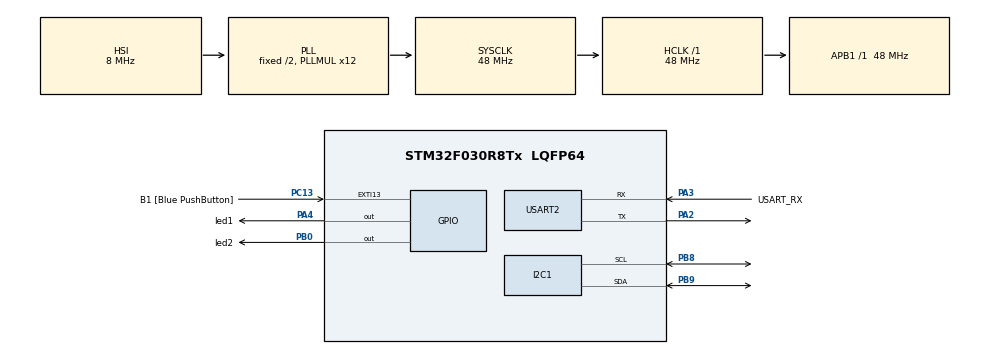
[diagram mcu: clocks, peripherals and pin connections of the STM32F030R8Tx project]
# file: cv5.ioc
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Dma.Request0=USART2_RX
Dma.USART2_RX.0.Direction=DMA_PERIPH_TO_MEMORY
Dma.USART2_RX.0.Instance=DMA1_Channel5
Dma.USART2_RX.0.MemDataAlignment=DMA_MDATAALIGN_BYTE
Dma.USART2_RX.0.MemInc=DMA_MINC_ENABLE
Dma.USART2_RX.0.Mode=DMA_CIRCULAR
Dma.USART2_RX.0.PeriphDataAlignment=DMA_PDATAALIGN_BYTE
Dma.USART2_RX.0.PeriphInc=DMA_PINC_DISABLE
Dma.USART2_RX.0.Priority=DMA_PRIORITY_LOW
Mcu.Family=STM32F0
Mcu.Name=STM32F030R8Tx
Mcu.Package=LQFP64
NVIC.DMA1_Channel4_5_IRQn=true\:0\:0\:false\:false\:true\:false\:true\:true
PA13.GPIO_Label=TMS
PA13.Mode=Serial_Wire
PA13.Signal=SYS_SWDIO
PA14.GPIO_Label=TCK
PA14.Mode=Serial_Wire
PA14.Signal=SYS_SWCLK
PA2.Mode=Asynchronous
PA2.Signal=USART2_TX
PA3.GPIO_Label=USART_RX
PA3.GPIO_Mode=GPIO_MODE_AF_PP
PA3.GPIO_PuPd=GPIO_NOPULL
PA3.GPIO_Speed=GPIO_SPEED_FREQ_LOW
PA3.Mode=Asynchronous
PA3.Signal=USART2_RX
PA4.GPIO_Label=led1
PA4.Signal=GPIO_Output
PB0.GPIO_Label=led2
PB0.Signal=GPIO_Output
PB8.Mode=I2C
PB8.Signal=I2C1_SCL
PB9.Mode=I2C
PB9.Signal=I2C1_SDA
PC13.GPIO_Label=B1 [Blue PushButton]
PC13.GPIO_ModeDefaultEXTI=GPIO_MODE_IT_FALLING
PC13.Signal=GPXTI13
PC14-OSC32_IN.Mode=LSE-External-Oscillator
PC14-OSC32_IN.Signal=RCC_OSC32_IN
PC15-OSC32_OUT.Mode=LSE-External-Oscillator
PC15-OSC32_OUT.Signal=RCC_OSC32_OUT
PF0-OSC_IN.Mode=HSE-External-Clock-Source
PF0-OSC_IN.Signal=RCC_OSC_IN
PF1-OSC_OUT.Signal=RCC_OSC_OUT
ProjectManager.HeapSize=0x200
ProjectManager.StackSize=0x400
ProjectManager.TargetToolchain=STM32CubeIDE
RCC.AHBFreq_Value=48000000
RCC.APB1Freq_Value=48000000
RCC.APB1TimFreq_Value=48000000
RCC.HCLKFreq_Value=48000000
RCC.PLLMUL=RCC_PLL_MUL12
RCC.SYSCLKFreq_VALUE=48000000
RCC.SYSCLKSource=RCC_SYSCLKSOURCE_PLLCLK
USART2.VirtualMode-Asynchronous=VM_ASYNC
board=NUCLEO-F030R8

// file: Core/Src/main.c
/* USER CODE BEGIN Header */
/**
  ******************************************************************************
  * @file           : main.c
  * @brief          : Main program body
  ******************************************************************************
  * @attention
  *
  * Copyright (c) 2023 STMicroelectronics.
  * All rights reserved.
  *
  * This software is licensed under terms that can be found in the LICENSE file
  * in the root directory of this software component.
  * If no LICENSE file comes with this software, it is provided AS-IS.
  *
  ******************************************************************************
  */
/* USER CODE END Header */
#include "main.h"

/* USER CODE BEGIN Includes */
#include <stdio.h>
#include <string.h>
#include <stdlib.h>

/* USER CODE END Includes */

/* USER CODE BEGIN PD */
#define RX_BUFFER_LEN 64
#define CMD_BUFFER_LEN 256
#define EEPROM_ADDR 0xA0
static uint8_t uart_rx_buf[RX_BUFFER_LEN];
static volatile uint16_t uart_rx_read_ptr = 0;
#define uart_rx_write_ptr (RX_BUFFER_LEN - hdma_usart2_rx.Instance->CNDTR)

/* USER CODE END PD */

I2C_HandleTypeDef hi2c1;

UART_HandleTypeDef huart2;
DMA_HandleTypeDef hdma_usart2_rx;

void SystemClock_Config(void);
static void MX_GPIO_Init(void);
static void MX_DMA_Init(void);
static void MX_USART2_UART_Init(void);
static void MX_I2C1_Init(void);

/* USER CODE BEGIN 0 */
static void uart_process_command(char *cmd)
{
	//printf("prijato: '%s'\n", cmd);
	char *token;
	uint16_t addr;
	uint8_t value;
	token = strtok(cmd, " ");
	//HELLO
	if (strcasecmp(token, "HELLO") == 0) {
		printf("Komunikace OK\n");
	}
	//led1
	else if (strcasecmp(token, "LED1") == 0) {
		token = strtok(NULL, " ");

		if (strcasecmp(token, "ON") == 0) {
			HAL_GPIO_WritePin(led1_GPIO_Port, led1_Pin, GPIO_PIN_SET);
			printf("ledka svititi\n");
		}
		else if (strcasecmp(token, "OFF") == 0) {
			HAL_GPIO_WritePin(led1_GPIO_Port, led1_Pin, GPIO_PIN_RESET);
			printf("ledka nesvititi\n");
		}
	}
	//led2
	else if (strcasecmp(token, "LED2") == 0) {
		token = strtok(NULL, " ");
		if (strcasecmp(token, "ON") == 0) {
			HAL_GPIO_WritePin(led2_GPIO_Port, led2_Pin, GPIO_PIN_SET);
			printf("ledka svititi\n");
		}
		else if ((strcasecmp(token, "OFF") == 0)){
			HAL_GPIO_WritePin(led2_GPIO_Port, led2_Pin, GPIO_PIN_RESET);
			printf("ledka nesvititi\n");
		}
	}
	//status
	else if (strcasecmp(token, "STATUS") == 0){
		if (HAL_GPIO_ReadPin(led1_GPIO_Port, led1_Pin)){
			printf("led1 on\n");
		}
		else {
			printf("led1 off\n");
		}
		if (HAL_GPIO_ReadPin(led2_GPIO_Port, led2_Pin)){
			printf("led2 on\n");
		}
		else {
			printf("led2 off\n");
		}
	}
	//cteni adresy
	else if (strcasecmp(token, "READ") == 0){
		token = strtok(NULL, " ");
		addr = atoi(token);
		HAL_I2C_Mem_Read(&hi2c1, EEPROM_ADDR, addr, I2C_MEMADD_SIZE_16BIT, &value, 1, 1000);
		printf("Adresa 0x%04X = 0x%02X\n", addr,  value);

	}
	//zapis na adresu
	else if (strcasecmp(token, "WRITE") == 0){
		token = strtok(NULL, " ");
		addr = atoi(token);
		token = strtok(NULL, " ");
		value = atoi(token);
		HAL_I2C_Mem_Write(&hi2c1, EEPROM_ADDR, addr, I2C_MEMADD_SIZE_16BIT, &value, 1, 1000);
		while (HAL_I2C_IsDeviceReady(&hi2c1, EEPROM_ADDR, 300, 1000) == HAL_TIMEOUT) {}
		printf("OK \n");
	}
	//vybliti
	else if (strcasecmp(token, "DUMP")==0){
		uint8_t val[16];
		HAL_I2C_Mem_Read(&hi2c1, EEPROM_ADDR, 0, I2C_MEMADD_SIZE_16BIT, val, 16, 1000);
		 for (uint8_t i=0; i<16 ; i++){
			 if(i%8==0) printf("\n");
			 printf("0x%02X ", val[i]);
		 }
		 printf("\n");
	}
}

int _write(int file, char const *buf, int n)
{
	/* stdout redirection to UART2 */
	HAL_UART_Transmit(&huart2, (uint8_t*)(buf), n, HAL_MAX_DELAY);
 return n;
}

static void uart_byte_available(uint8_t c)
{
	static uint16_t cnt;
	static char data[CMD_BUFFER_LEN];
	if (cnt < CMD_BUFFER_LEN && c >= 32 && c <= 126) data[cnt++] = c;
	if ((c == '\n' || c == '\r') && cnt > 0) {
		data[cnt] = '\0';
		uart_process_command(data);
		cnt = 0;
	}
}

/* USER CODE END 0 */

int main(void)
{

  /* MCU Configuration--------------------------------------------------------*/

  /* Reset of all peripherals, Initializes the Flash interface and the Systick. */
  HAL_Init();

  /* Configure the system clock */
  SystemClock_Config();

  /* Initialize all configured peripherals */
  MX_GPIO_Init();
  MX_DMA_Init();
  MX_USART2_UART_Init();
  MX_I2C1_Init();

  /* Infinite loop */
  /* USER CODE BEGIN WHILE */
  HAL_UART_Receive_DMA(&huart2, uart_rx_buf, RX_BUFFER_LEN);
  while (1)
  {
	  while (uart_rx_read_ptr != uart_rx_write_ptr) {
		  uint8_t b = uart_rx_buf[uart_rx_read_ptr];
		  if (++uart_rx_read_ptr >= RX_BUFFER_LEN) uart_rx_read_ptr = 0; // increase read pointer
		  uart_byte_available(b); // process every received byte with the RX state machine
	  }
    /* USER CODE END WHILE */

    /* USER CODE BEGIN 3 */
	  /*  uint8_t c;
	  HAL_UART_Receive(&huart2, &c, 1, HAL_MAX_DELAY);
	  HAL_UART_Transmit(&huart2, &c, 1, HAL_MAX_DELAY);
	   */
  }
  /* USER CODE END 3 */
}

void SystemClock_Config(void)
{
  RCC_OscInitTypeDef RCC_OscInitStruct = {0};
  RCC_ClkInitTypeDef RCC_ClkInitStruct = {0};
  RCC_PeriphCLKInitTypeDef PeriphClkInit = {0};

  /** Initializes the RCC Oscillators according to the specified parameters
  * in the RCC_OscInitTypeDef structure.
  */
  RCC_OscInitStruct.OscillatorType = RCC_OSCILLATORTYPE_HSI;
  RCC_OscInitStruct.HSIState = RCC_HSI_ON;
  RCC_OscInitStruct.HSICalibrationValue = RCC_HSICALIBRATION_DEFAULT;
  RCC_OscInitStruct.PLL.PLLState = RCC_PLL_ON;
  RCC_OscInitStruct.PLL.PLLSource = RCC_PLLSOURCE_HSI;
  RCC_OscInitStruct.PLL.PLLMUL = RCC_PLL_MUL12;
  RCC_OscInitStruct.PLL.PREDIV = RCC_PREDIV_DIV1;
  if (HAL_RCC_OscConfig(&RCC_OscInitStruct) != HAL_OK)
  {
    Error_Handler();
  }

  /** Initializes the CPU, AHB and APB buses clocks
  */
  RCC_ClkInitStruct.ClockType = RCC_CLOCKTYPE_HCLK|RCC_CLOCKTYPE_SYSCLK
                              |RCC_CLOCKTYPE_PCLK1;
  RCC_ClkInitStruct.SYSCLKSource = RCC_SYSCLKSOURCE_PLLCLK;
  RCC_ClkInitStruct.AHBCLKDivider = RCC_SYSCLK_DIV1;
  RCC_ClkInitStruct.APB1CLKDivider = RCC_HCLK_DIV1;

  if (HAL_RCC_ClockConfig(&RCC_ClkInitStruct, FLASH_LATENCY_1) != HAL_OK)
  {
    Error_Handler();
  }
  PeriphClkInit.PeriphClockSelection = RCC_PERIPHCLK_I2C1;
  PeriphClkInit.I2c1ClockSelection = RCC_I2C1CLKSOURCE_HSI;
  if (HAL_RCCEx_PeriphCLKConfig(&PeriphClkInit) != HAL_OK)
  {
    Error_Handler();
  }
}

static void MX_I2C1_Init(void)
{

  hi2c1.Instance = I2C1;
  hi2c1.Init.Timing = 0x2000090E;
  hi2c1.Init.OwnAddress1 = 0;
  hi2c1.Init.AddressingMode = I2C_ADDRESSINGMODE_7BIT;
  hi2c1.Init.DualAddressMode = I2C_DUALADDRESS_DISABLE;
  hi2c1.Init.OwnAddress2 = 0;
  hi2c1.Init.OwnAddress2Masks = I2C_OA2_NOMASK;
  hi2c1.Init.GeneralCallMode = I2C_GENERALCALL_DISABLE;
  hi2c1.Init.NoStretchMode = I2C_NOSTRETCH_DISABLE;
  if (HAL_I2C_Init(&hi2c1) != HAL_OK)
  {
    Error_Handler();
  }

  /** Configure Analogue filter
  */
  if (HAL_I2CEx_ConfigAnalogFilter(&hi2c1, I2C_ANALOGFILTER_ENABLE) != HAL_OK)
  {
    Error_Handler();
  }

  /** Configure Digital filter
  */
  if (HAL_I2CEx_ConfigDigitalFilter(&hi2c1, 0) != HAL_OK)
  {
    Error_Handler();
  }

}

static void MX_USART2_UART_Init(void)
{

  huart2.Instance = USART2;
  huart2.Init.BaudRate = 38400;
  huart2.Init.WordLength = UART_WORDLENGTH_8B;
  huart2.Init.StopBits = UART_STOPBITS_1;
  huart2.Init.Parity = UART_PARITY_NONE;
  huart2.Init.Mode = UART_MODE_TX_RX;
  huart2.Init.HwFlowCtl = UART_HWCONTROL_NONE;
  huart2.Init.OverSampling = UART_OVERSAMPLING_16;
  huart2.Init.OneBitSampling = UART_ONE_BIT_SAMPLE_DISABLE;
  huart2.AdvancedInit.AdvFeatureInit = UART_ADVFEATURE_NO_INIT;
  if (HAL_UART_Init(&huart2) != HAL_OK)
  {
    Error_Handler();
  }

}

static void MX_DMA_Init(void)
{

  /* DMA controller clock enable */
  __HAL_RCC_DMA1_CLK_ENABLE();

  /* DMA interrupt init */
  /* DMA1_Channel4_5_IRQn interrupt configuration */
  HAL_NVIC_SetPriority(DMA1_Channel4_5_IRQn, 0, 0);
  HAL_NVIC_EnableIRQ(DMA1_Channel4_5_IRQn);

}

static void MX_GPIO_Init(void)
{
  GPIO_InitTypeDef GPIO_InitStruct = {0};

  /* GPIO Ports Clock Enable */
  __HAL_RCC_GPIOC_CLK_ENABLE();
  __HAL_RCC_GPIOF_CLK_ENABLE();
  __HAL_RCC_GPIOA_CLK_ENABLE();
  __HAL_RCC_GPIOB_CLK_ENABLE();

  /*Configure GPIO pin Output Level */
  HAL_GPIO_WritePin(led1_GPIO_Port, led1_Pin, GPIO_PIN_RESET);

  /*Configure GPIO pin Output Level */
  HAL_GPIO_WritePin(led2_GPIO_Port, led2_Pin, GPIO_PIN_RESET);

  /*Configure GPIO pin : B1_Pin */
  GPIO_InitStruct.Pin = B1_Pin;
  GPIO_InitStruct.Mode = GPIO_MODE_IT_FALLING;
  GPIO_InitStruct.Pull = GPIO_NOPULL;
  HAL_GPIO_Init(B1_GPIO_Port, &GPIO_InitStruct);

  /*Configure GPIO pin : led1_Pin */
  GPIO_InitStruct.Pin = led1_Pin;
  GPIO_InitStruct.Mode = GPIO_MODE_OUTPUT_PP;
  GPIO_InitStruct.Pull = GPIO_NOPULL;
  GPIO_InitStruct.Speed = GPIO_SPEED_FREQ_LOW;
  HAL_GPIO_Init(led1_GPIO_Port, &GPIO_InitStruct);

  /*Configure GPIO pin : led2_Pin */
  GPIO_InitStruct.Pin = led2_Pin;
  GPIO_InitStruct.Mode = GPIO_MODE_OUTPUT_PP;
  GPIO_InitStruct.Pull = GPIO_NOPULL;
  GPIO_InitStruct.Speed = GPIO_SPEED_FREQ_LOW;
  HAL_GPIO_Init(led2_GPIO_Port, &GPIO_InitStruct);

}

void Error_Handler(void)
{
  __disable_irq();
  while (1)
  {
  }
}
